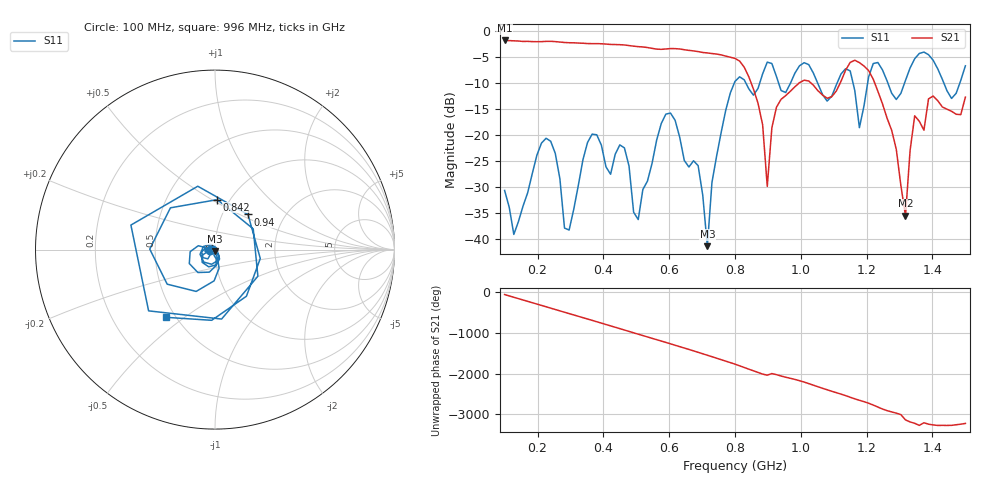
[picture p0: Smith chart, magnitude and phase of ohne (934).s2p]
! NanoVNA-App
! Date: 2025-09-25 14:28:04
! Start: 100MHz Stop: 1,5GHz Points: 101
! S-Parameter data: F S11 S21 S12 S22
# Hz S RI R 50
!  Frequency  S11_Real  S11_Imag  S21_Real  S21_Imag  S12_Real  S12_Imag  S22_Real  S22_Imag
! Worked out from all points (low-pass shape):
!   101 points, 100 MHz to 1.5 GHz, reference 50 ohm
!   highest |S21| = -1.79 dB at 100 MHz (marker M1); lowest = -35.5 dB at 1.318 GHz (marker M2)
!   |S21| within 3 dB of the highest: start of sweep to 771.2 MHz
!   lowest |S11| = -41.4 dB at 716 MHz (marker M3), VSWR 1.02, Z = 49.8 - j0.835 ohm
!   |S11| at or under -10 dB: start of sweep to 797.8 MHz; 833.1 MHz to 875.1 MHz (41.92 MHz wide, 4.91 % of centre); 1.051 GHz to 1.11 GHz (58.9 MHz wide, 5.45 % of centre) (the widest 3 of 7)
!   S12 and S22 are empty: the file has one direction only
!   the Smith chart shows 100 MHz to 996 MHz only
!   S11 on the Smith chart (normalised r, x): 100 MHz: 0.94, -0.01; 842 MHz: 0.88, +0.53; 940 MHz: 1.32, +0.56; 996 MHz: 0.45, -0.43
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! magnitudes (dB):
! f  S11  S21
! 100 MHz  -30.6  -1.8
! 128 MHz  -39.1  -1.9
! 226 MHz  -20.6  -2.0
! 296 MHz  -38.3  -2.2
! 338 MHz  -24.7  -2.3
! 464 MHz  -22.5  -2.7
! 506 MHz  -36.2  -3.0
! 576 MHz  -17.8  -3.5
! 688 MHz  -25.9  -3.9
! 716 MHz  -41.4  -4.2
! 800 MHz  -9.7  -5.2
! 842 MHz  -11.1  -8.8
! 898 MHz  -6.0  -29.9
! 940 MHz  -11.4  -13.1
! 996 MHz  -6.7  -9.9
! 1.038 GHz  -8.1  -10.4
! 1.178 GHz  -18.6  -6.1
! 1.22 GHz  -6.2  -9.2
! 1.276 GHz  -11.9  -19.1
! 1.318 GHz  -9.5  -35.5
! 1.346 GHz  -5.3  -16.3
! 1.5 GHz  -6.7  -12.7
